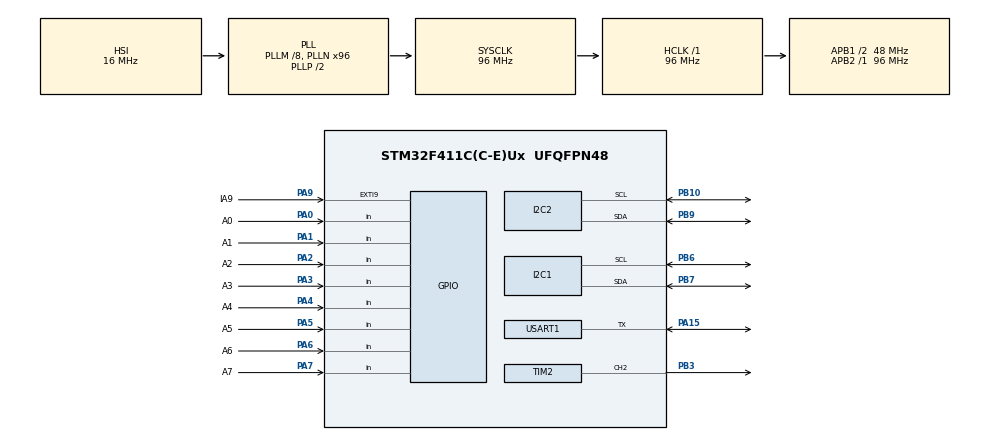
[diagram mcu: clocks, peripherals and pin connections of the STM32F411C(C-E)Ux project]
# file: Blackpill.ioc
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I2C1.I2C_Mode=I2C_Fast
Mcu.Family=STM32F4
Mcu.Name=STM32F411C(C-E)Ux
Mcu.Package=UFQFPN48
NVIC.PriorityGroup=NVIC_PRIORITYGROUP_4
PA0-WKUP.GPIO_Label=A0
PA0-WKUP.GPIO_PuPd=GPIO_PULLUP
PA0-WKUP.Signal=GPIO_Input
PA1.GPIO_Label=A1
PA1.GPIO_PuPd=GPIO_PULLUP
PA1.Signal=GPIO_Input
PA15.Mode=Half_duplex(single_wire_mode)
PA15.Signal=USART1_TX
PA2.GPIO_Label=A2
PA2.GPIO_PuPd=GPIO_PULLUP
PA2.Signal=GPIO_Input
PA3.GPIO_Label=A3
PA3.GPIO_PuPd=GPIO_PULLUP
PA3.Signal=GPIO_Input
PA4.GPIO_Label=A4
PA4.GPIO_PuPd=GPIO_PULLUP
PA4.Signal=GPIO_Input
PA5.GPIO_Label=A5
PA5.GPIO_PuPd=GPIO_PULLUP
PA5.Signal=GPIO_Input
PA6.GPIO_Label=A6
PA6.GPIO_PuPd=GPIO_PULLUP
PA6.Signal=GPIO_Input
PA7.GPIO_Label=A7
PA7.GPIO_PuPd=GPIO_PULLUP
PA7.Signal=GPIO_Input
PA9.GPIO_Label=IA9
PA9.GPIO_ModeDefaultEXTI=GPIO_MODE_IT_RISING
PA9.Signal=GPXTI9
PB10.Mode=I2C
PB10.Signal=I2C2_SCL
PB3.Signal=S_TIM2_CH2
PB6.Mode=I2C
PB6.Signal=I2C1_SCL
PB7.Mode=I2C
PB7.Signal=I2C1_SDA
PB9.Mode=I2C
PB9.Signal=I2C2_SDA
PH0\ -\ OSC_IN.Mode=HSE-External-Oscillator
PH0\ -\ OSC_IN.Signal=RCC_OSC_IN
PH1\ -\ OSC_OUT.Mode=HSE-External-Oscillator
PH1\ -\ OSC_OUT.Signal=RCC_OSC_OUT
ProjectManager.HeapSize=0x200
ProjectManager.StackSize=0x400
ProjectManager.TargetToolchain=STM32CubeIDE
RCC.48MHZClocksFreq_Value=48000000
RCC.AHBFreq_Value=96000000
RCC.APB1CLKDivider=RCC_HCLK_DIV2
RCC.APB1Freq_Value=48000000
RCC.APB1TimFreq_Value=96000000
RCC.APB2Freq_Value=96000000
RCC.APB2TimFreq_Value=96000000
RCC.CortexFreq_Value=96000000
RCC.HCLKFreq_Value=96000000
RCC.HSE_VALUE=25000000
RCC.HSI_VALUE=16000000
RCC.LSE_VALUE=32768
RCC.PLLM=8
RCC.PLLN=96
RCC.SYSCLKFreq_VALUE=96000000
RCC.SYSCLKSource=RCC_SYSCLKSOURCE_PLLCLK
RCC.VCOOutputFreq_Value=192000000
SH.S_TIM2_CH2.0=TIM2_CH2,PWM Generation2 CH2
TIM2.Channel-PWM\ Generation2\ CH2=TIM_CHANNEL_2
TIM2.Period=20
TIM2.Prescaler=127
USART1.VirtualMode=VM_ASYNC
VP_TIM2_VS_ClockSourceINT.Mode=Internal
board=custom

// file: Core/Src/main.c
/* USER CODE BEGIN Header */
/**
  ******************************************************************************
  * @file           : main.c
  * @brief          : Main program body
  ******************************************************************************
  * @attention
  *
  * Copyright (c) 2025 STMicroelectronics.
  * All rights reserved.
  *
  * This software is licensed under terms that can be found in the LICENSE file
  * in the root directory of this software component.
  * If no LICENSE file comes with this software, it is provided AS-IS.
  *
  ******************************************************************************
  */
/* USER CODE END Header */
#include "main.h"

/* USER CODE BEGIN Includes */
#include "fonts.h"
#include "ssd1306.h"
#include "lis3dh_driver.h"
#include <math.h>
#include <stdio.h>
/* USER CODE END Includes */

I2C_HandleTypeDef hi2c1;
I2C_HandleTypeDef hi2c2;

TIM_HandleTypeDef htim2;

UART_HandleTypeDef huart1;

void SystemClock_Config(void);
static void MX_GPIO_Init(void);
static void MX_I2C1_Init(void);
static void MX_I2C2_Init(void);
static void MX_TIM2_Init(void);
static void MX_USART1_UART_Init(void);

/* USER CODE BEGIN 0 */
uint32_t seed = 128758;

uint32_t RandomNumber(uint32_t min, uint32_t max) {
    seed = (1664525 * seed + 1013904223) % 0xFFFFFFFF;
    return (seed % (max - min + 1)) + min;
}
//Licznik dla każdej kości ile rzutów trzeba wykonać, zwiększa się wraz z klikaniem tego guzika
uint8_t d4Number = 0;
uint8_t d6Number = 0;
uint8_t d8Number = 0;
uint8_t d10Number = 0;
uint8_t d12Number = 0;
uint8_t d20Number = 0;
uint8_t d100Number = 0;

//Licznik dla każdej z kości jaka jest suma rzutów w danej "epoce"
uint32_t d4Counter = 0;
uint32_t d6Counter = 0;
uint32_t d8Counter = 0;
uint32_t d10Counter = 0;
uint32_t d12Counter = 0;
uint32_t d20Counter = 0;
uint32_t d100Counter = 0;

//Czyszczenie bufferu
void ClearBuffer(char* buffer, uint16_t size) {
    for (uint16_t i = 0; i < size; i++) {
        buffer[i] = '\0';
    }
}

void HomeScreen(){
	char buffer[40];
	SSD1306_Clear();
	//Po kolei pójście w daną część wyświetlacza i pisanie tam danej kości i ile rzutów wybrał użytkownik
	SSD1306_GotoXY(5, 10);
	SSD1306_Puts("D20:", &Font_7x10, 1);
	sprintf(buffer, "%u",d20Number);
	SSD1306_Puts(buffer, &Font_7x10, 1);

	SSD1306_GotoXY(48, 10);
	SSD1306_Puts("D12:", &Font_7x10, 1);
	sprintf(buffer, "%u",d12Number);
	SSD1306_Puts(buffer, &Font_7x10, 1);

	SSD1306_GotoXY(91, 10);
	SSD1306_Puts("D8:", &Font_7x10, 1);
	sprintf(buffer, "%u",d8Number);
	SSD1306_Puts(buffer, &Font_7x10, 1);

	SSD1306_GotoXY(5, 30);
	SSD1306_Puts("D10:", &Font_7x10, 1);
	sprintf(buffer, "%u",d10Number);
	SSD1306_Puts(buffer, &Font_7x10, 1);

	SSD1306_GotoXY(48, 30);
	SSD1306_Puts("D6:", &Font_7x10, 1);
	sprintf(buffer, "%u",d6Number);
	SSD1306_Puts(buffer, &Font_7x10, 1);

	SSD1306_GotoXY(91, 30);
	SSD1306_Puts("D4:", &Font_7x10, 1);
	sprintf(buffer, "%u",d4Number);
	SSD1306_Puts(buffer, &Font_7x10, 1);

	SSD1306_GotoXY(42, 50);
	SSD1306_Puts("D100:", &Font_7x10, 1);
	sprintf(buffer, "%u",d100Number);
	SSD1306_Puts(buffer, &Font_7x10, 1);
	//Po napisaniu wszystkich elementów na ekranie trzeba pamiętać by cały ekran zupdateować
	SSD1306_UpdateScreen();
	//Delay dla pełnego przepływu danych
	HAL_Delay(200);
}

void Display(uint16_t end, uint8_t i){
	//Czyści co jest teraz
	SSD1306_Clear();
	//Pozycjunuje kursor w danym miejscu ekranu
	SSD1306_GotoXY(5, 0);

	//Przemiana z int na char
	char buffer[40];
	sprintf(buffer, "Dice D%u:", end);

	//Pisze wynik na ekranie
	SSD1306_Puts(buffer, &Font_7x10, 1);

	SSD1306_GotoXY(5, 20);

	for(int j = 0; j < i; j++){
	//Losuje numer z zakresu kości i go wstawia na ekran
		int n = RandomNumber(1, end);
		sprintf(buffer, "%lu ", n);
		SSD1306_Puts(buffer, &Font_7x10, 1);
		//Switch case by dodać dany losowy rzut do countera czyli sumy, każda kość ma osobną sumę
		switch(end){
			case 4:
				d4Counter = d4Counter + n;
				break;
			case 6:
				d6Counter = d6Counter + n;
				break;
			case 8:
				d8Counter = d8Counter + n;
				break;
			case 10:
				d10Counter = d10Counter + n;
				break;
			case 12:
				d12Counter = d12Counter + n;
				break;
			case 20:
				d20Counter = d20Counter + n;
				break;
			case 100:
				d100Counter = d100Counter + n;
				break;

			}
	}
	SSD1306_GotoXY(5, 40);
	//Po pokazaniu wszystkich wyników i zliczeniu sum, pokazujemy sumę danej kości
	switch(end){
		case 4:
			sprintf(buffer, "Sum: %lu", d4Counter);
			SSD1306_Puts(buffer, &Font_7x10, 1);
			break;
		case 6:
			sprintf(buffer, "Sum: %lu", d6Counter);
			SSD1306_Puts(buffer, &Font_7x10, 1);
			break;
		case 8:
			sprintf(buffer, "Sum: %lu", d8Counter);
			SSD1306_Puts(buffer, &Font_7x10, 1);
			break;
		case 10:
			sprintf(buffer, "Sum: %lu", d10Counter);
			SSD1306_Puts(buffer, &Font_7x10, 1);
			break;
		case 12:
			sprintf(buffer, "Sum: %lu", d12Counter);
			SSD1306_Puts(buffer, &Font_7x10, 1);
			break;
		case 20:
			sprintf(buffer, "Sum: %lu", d20Counter);
			SSD1306_Puts(buffer, &Font_7x10, 1);
			break;
		case 100:
			sprintf(buffer, "Sum: %lu", d100Counter);
			SSD1306_Puts(buffer, &Font_7x10, 1);
			break;
		}
	//Oczywiście na końcu musimy wyzerować sumę dla wszystkich kości by kolejna "epoka" zaczynała od zera
	switch(end){
		case 4:
			d4Counter = 0;
			break;
		case 6:
			d6Counter = 0;
			break;
		case 8:
			d8Counter = 0;
			break;
		case 10:
			d10Counter = 0;
			break;
		case 12:
			d12Counter = 0;
			break;
		case 20:
			d20Counter = 0;
			break;
		case 100:
			d100Counter = 0;
			break;
		}
	//Pokazanie napianych rzeczy na ekranie
	SSD1306_UpdateScreen();

	HAL_Delay(1000);

}

void Buzz(){
	//Wysyłamy sygnał PWM na port gdzie jest połączony nasz głośnik
	HAL_TIM_PWM_Start(&htim2, TIM_CHANNEL_2);
	int x;
	//Wysyłamy po kolei od niższych do wyższych częstotliwości i odwrotnie by dać ciekawy dźwięk
	for(x = 30; x < 40; x++) {
	    __HAL_TIM_SET_AUTORELOAD(&htim2, x * 2);
	    __HAL_TIM_SET_COMPARE(&htim2, TIM_CHANNEL_2, x);
	    HAL_Delay(50);
	  }
	for(x = 40; x < 30; x++) {
		__HAL_TIM_SET_AUTORELOAD(&htim2, x * 2);
		__HAL_TIM_SET_COMPARE(&htim2, TIM_CHANNEL_2, x);
		HAL_Delay(50);
	  }
	HAL_TIM_PWM_Stop(&htim2, TIM_CHANNEL_2);
}

void DisplayResult(){
	//Funkcja która pokazuje po kolei wyniki od najniższego do najwyższego rodzaju kości
	if(d4Number != 0){
		Display(4, d4Number);
		d4Number = 0;
	}
	else if(d6Number != 0){
		Display(6, d6Number);
		d6Number = 0;
	}
	else if(d8Number != 0){
		Display(8, d8Number);
		d8Number = 0;
	}
	else if(d10Number != 0){
		Display(10, d10Number);
		d10Number = 0;
	}
	else if(d12Number != 0){
		Display(12, d12Number);
		d12Number = 0;
	}
	else if(d20Number != 0){
		Display(20, d20Number);
		d20Number = 0;
	}
	else if(d100Number != 0){
		Display(100, d100Number);
		d100Number = 0;
	}

}
void RollDice(){
	//Głośnik gra muzykę by pokazać że wynik jest gotowy
	Buzz();
	//Pokazujemy pierwszą kość
	DisplayResult();
	while(d4Number != 0 || d6Number != 0 || d8Number != 0 || d10Number != 0 || d12Number != 0 || d20Number != 0 || d100Number != 0){

		if (HAL_GPIO_ReadPin(A0_GPIO_Port, A0_Pin) == 0) {
				DisplayResult();
		}
	}
	//Czekamy na ostatnie kliknięcie guzika funkcyjnego by przejść do menu głównego
	while(HAL_GPIO_ReadPin(A0_GPIO_Port, A0_Pin) != 0){}
		HomeScreen();

}

/* USER CODE END 0 */

int main(void)
{

  /* MCU Configuration--------------------------------------------------------*/

  /* Reset of all peripherals, Initializes the Flash interface and the Systick. */
  HAL_Init();

  /* Configure the system clock */
  SystemClock_Config();

  /* Initialize all configured peripherals */
  MX_GPIO_Init();
  MX_I2C1_Init();
  MX_I2C2_Init();
  MX_TIM2_Init();
  MX_USART1_UART_Init();
  /* USER CODE BEGIN 2 */
  HAL_TIM_PWM_Start(&htim2, TIM_CHANNEL_2);
  SSD1306_Init();

  /* USER CODE END 2 */

  /* Infinite loop */
  /* USER CODE BEGIN WHILE */
  //Na początek pokazujemy home screen by zawsze był on pierwszą rzeczą jaką będzie widział użytkownik
  HomeScreen();
  int x = 0;
  //Inicjalizujemy przyśpieszomierz
  LIS3DH_Init(&hi2c2);
  while (1)
  {
    /* USER CODE END WHILE */

    /* USER CODE BEGIN 3 */

	  //Czytamy i sumujemy dane z przyśpieszomierza zamieniając je na ogólne przyśpieszenie urządzenia
	  int16_t x_raw, y_raw, z_raw;
	  LIS3DH_ReadRawAcc(&hi2c2, &x_raw, &y_raw, &z_raw);

	  float ax = x_raw * 0.001f * 9.81f;
	  float ay = y_raw * 0.001f * 9.81f;
	  float az = z_raw * 0.001f * 9.81f;

	  float magnitude = sqrt(ax * ax + ay * ay + az * az);
	  float net_accel = fabs(magnitude - 9.81f);
	  //Jeżeli przyśpieszomierz odzyczyta odpowiednią szybkość rzucamy kośćmi które przygotowaliśmy wcześniej
	  if (net_accel > 10.0f) {
		  RollDice();
	  }

	  //Sprawdzamy czy jakikolwiek z guzików został kliknięty i update'ujemy home screen by dać instant feedback użytkownikowi
	if (HAL_GPIO_ReadPin(A1_GPIO_Port, A1_Pin) == 0) {
			d4Number++;
			HomeScreen();
	}
	if (HAL_GPIO_ReadPin(A2_GPIO_Port, A2_Pin) == 0) {
			d6Number++;
			HomeScreen();
	}
	if (HAL_GPIO_ReadPin(A3_GPIO_Port, A3_Pin) == 0) {
			d8Number++;
			HomeScreen();
	}
	if (HAL_GPIO_ReadPin(A4_GPIO_Port, A4_Pin) == 0) {
			d10Number++;
			HomeScreen();
	}
	if (HAL_GPIO_ReadPin(A5_GPIO_Port, A5_Pin) == 0) {
			d12Number++;
			HomeScreen();
	}
	if (HAL_GPIO_ReadPin(A6_GPIO_Port, A6_Pin) == 0) {
			d20Number++;
			HomeScreen();
	}
	if (HAL_GPIO_ReadPin(A7_GPIO_Port, A7_Pin) == 0) {
			d100Number++;
			HomeScreen();
	}
	HAL_Delay(200);
  }

  /* USER CODE END 3 */
}

void SystemClock_Config(void)
{
  RCC_OscInitTypeDef RCC_OscInitStruct = {0};
  RCC_ClkInitTypeDef RCC_ClkInitStruct = {0};

  /** Configure the main internal regulator output voltage
  */
  __HAL_RCC_PWR_CLK_ENABLE();
  __HAL_PWR_VOLTAGESCALING_CONFIG(PWR_REGULATOR_VOLTAGE_SCALE1);

  /** Initializes the RCC Oscillators according to the specified parameters
  * in the RCC_OscInitTypeDef structure.
  */
  RCC_OscInitStruct.OscillatorType = RCC_OSCILLATORTYPE_HSI;
  RCC_OscInitStruct.HSIState = RCC_HSI_ON;
  RCC_OscInitStruct.HSICalibrationValue = RCC_HSICALIBRATION_DEFAULT;
  RCC_OscInitStruct.PLL.PLLState = RCC_PLL_ON;
  RCC_OscInitStruct.PLL.PLLSource = RCC_PLLSOURCE_HSI;
  RCC_OscInitStruct.PLL.PLLM = 8;
  RCC_OscInitStruct.PLL.PLLN = 96;
  RCC_OscInitStruct.PLL.PLLP = RCC_PLLP_DIV2;
  RCC_OscInitStruct.PLL.PLLQ = 4;
  if (HAL_RCC_OscConfig(&RCC_OscInitStruct) != HAL_OK)
  {
    Error_Handler();
  }

  /** Initializes the CPU, AHB and APB buses clocks
  */
  RCC_ClkInitStruct.ClockType = RCC_CLOCKTYPE_HCLK|RCC_CLOCKTYPE_SYSCLK
                              |RCC_CLOCKTYPE_PCLK1|RCC_CLOCKTYPE_PCLK2;
  RCC_ClkInitStruct.SYSCLKSource = RCC_SYSCLKSOURCE_PLLCLK;
  RCC_ClkInitStruct.AHBCLKDivider = RCC_SYSCLK_DIV1;
  RCC_ClkInitStruct.APB1CLKDivider = RCC_HCLK_DIV2;
  RCC_ClkInitStruct.APB2CLKDivider = RCC_HCLK_DIV1;

  if (HAL_RCC_ClockConfig(&RCC_ClkInitStruct, FLASH_LATENCY_3) != HAL_OK)
  {
    Error_Handler();
  }
}

static void MX_I2C1_Init(void)
{

  hi2c1.Instance = I2C1;
  hi2c1.Init.ClockSpeed = 400000;
  hi2c1.Init.DutyCycle = I2C_DUTYCYCLE_2;
  hi2c1.Init.OwnAddress1 = 0;
  hi2c1.Init.AddressingMode = I2C_ADDRESSINGMODE_7BIT;
  hi2c1.Init.DualAddressMode = I2C_DUALADDRESS_DISABLE;
  hi2c1.Init.OwnAddress2 = 0;
  hi2c1.Init.GeneralCallMode = I2C_GENERALCALL_DISABLE;
  hi2c1.Init.NoStretchMode = I2C_NOSTRETCH_DISABLE;
  if (HAL_I2C_Init(&hi2c1) != HAL_OK)
  {
    Error_Handler();
  }

}

static void MX_I2C2_Init(void)
{

  hi2c2.Instance = I2C2;
  hi2c2.Init.ClockSpeed = 100000;
  hi2c2.Init.DutyCycle = I2C_DUTYCYCLE_2;
  hi2c2.Init.OwnAddress1 = 0;
  hi2c2.Init.AddressingMode = I2C_ADDRESSINGMODE_7BIT;
  hi2c2.Init.DualAddressMode = I2C_DUALADDRESS_DISABLE;
  hi2c2.Init.OwnAddress2 = 0;
  hi2c2.Init.GeneralCallMode = I2C_GENERALCALL_DISABLE;
  hi2c2.Init.NoStretchMode = I2C_NOSTRETCH_DISABLE;
  if (HAL_I2C_Init(&hi2c2) != HAL_OK)
  {
    Error_Handler();
  }

}

static void MX_TIM2_Init(void)
{

  TIM_ClockConfigTypeDef sClockSourceConfig = {0};
  TIM_MasterConfigTypeDef sMasterConfig = {0};
  TIM_OC_InitTypeDef sConfigOC = {0};

  htim2.Instance = TIM2;
  htim2.Init.Prescaler = 127;
  htim2.Init.CounterMode = TIM_COUNTERMODE_UP;
  htim2.Init.Period = 20;
  htim2.Init.ClockDivision = TIM_CLOCKDIVISION_DIV1;
  htim2.Init.AutoReloadPreload = TIM_AUTORELOAD_PRELOAD_DISABLE;
  if (HAL_TIM_Base_Init(&htim2) != HAL_OK)
  {
    Error_Handler();
  }
  sClockSourceConfig.ClockSource = TIM_CLOCKSOURCE_INTERNAL;
  if (HAL_TIM_ConfigClockSource(&htim2, &sClockSourceConfig) != HAL_OK)
  {
    Error_Handler();
  }
  if (HAL_TIM_PWM_Init(&htim2) != HAL_OK)
  {
    Error_Handler();
  }
  sMasterConfig.MasterOutputTrigger = TIM_TRGO_RESET;
  sMasterConfig.MasterSlaveMode = TIM_MASTERSLAVEMODE_DISABLE;
  if (HAL_TIMEx_MasterConfigSynchronization(&htim2, &sMasterConfig) != HAL_OK)
  {
    Error_Handler();
  }
  sConfigOC.OCMode = TIM_OCMODE_PWM1;
  sConfigOC.Pulse = 0;
  sConfigOC.OCPolarity = TIM_OCPOLARITY_HIGH;
  sConfigOC.OCFastMode = TIM_OCFAST_DISABLE;
  if (HAL_TIM_PWM_ConfigChannel(&htim2, &sConfigOC, TIM_CHANNEL_2) != HAL_OK)
  {
    Error_Handler();
  }
  HAL_TIM_MspPostInit(&htim2);

}

static void MX_USART1_UART_Init(void)
{

  huart1.Instance = USART1;
  huart1.Init.BaudRate = 115200;
  huart1.Init.WordLength = UART_WORDLENGTH_8B;
  huart1.Init.StopBits = UART_STOPBITS_1;
  huart1.Init.Parity = UART_PARITY_NONE;
  huart1.Init.Mode = UART_MODE_TX_RX;
  huart1.Init.HwFlowCtl = UART_HWCONTROL_NONE;
  huart1.Init.OverSampling = UART_OVERSAMPLING_16;
  if (HAL_HalfDuplex_Init(&huart1) != HAL_OK)
  {
    Error_Handler();
  }

}

static void MX_GPIO_Init(void)
{
  GPIO_InitTypeDef GPIO_InitStruct = {0};

  /* GPIO Ports Clock Enable */
  __HAL_RCC_GPIOH_CLK_ENABLE();
  __HAL_RCC_GPIOA_CLK_ENABLE();
  __HAL_RCC_GPIOB_CLK_ENABLE();

  /*Configure GPIO pins : A0_Pin A1_Pin A2_Pin A3_Pin
                           A4_Pin A5_Pin A6_Pin A7_Pin */
  GPIO_InitStruct.Pin = A0_Pin|A1_Pin|A2_Pin|A3_Pin
                          |A4_Pin|A5_Pin|A6_Pin|A7_Pin;
  GPIO_InitStruct.Mode = GPIO_MODE_INPUT;
  GPIO_InitStruct.Pull = GPIO_PULLUP;
  HAL_GPIO_Init(GPIOA, &GPIO_InitStruct);

  /*Configure GPIO pin : IA9_Pin */
  GPIO_InitStruct.Pin = IA9_Pin;
  GPIO_InitStruct.Mode = GPIO_MODE_IT_RISING;
  GPIO_InitStruct.Pull = GPIO_NOPULL;
  HAL_GPIO_Init(IA9_GPIO_Port, &GPIO_InitStruct);

}

void Error_Handler(void)
{
  __disable_irq();
  while (1)
  {
  }
}
